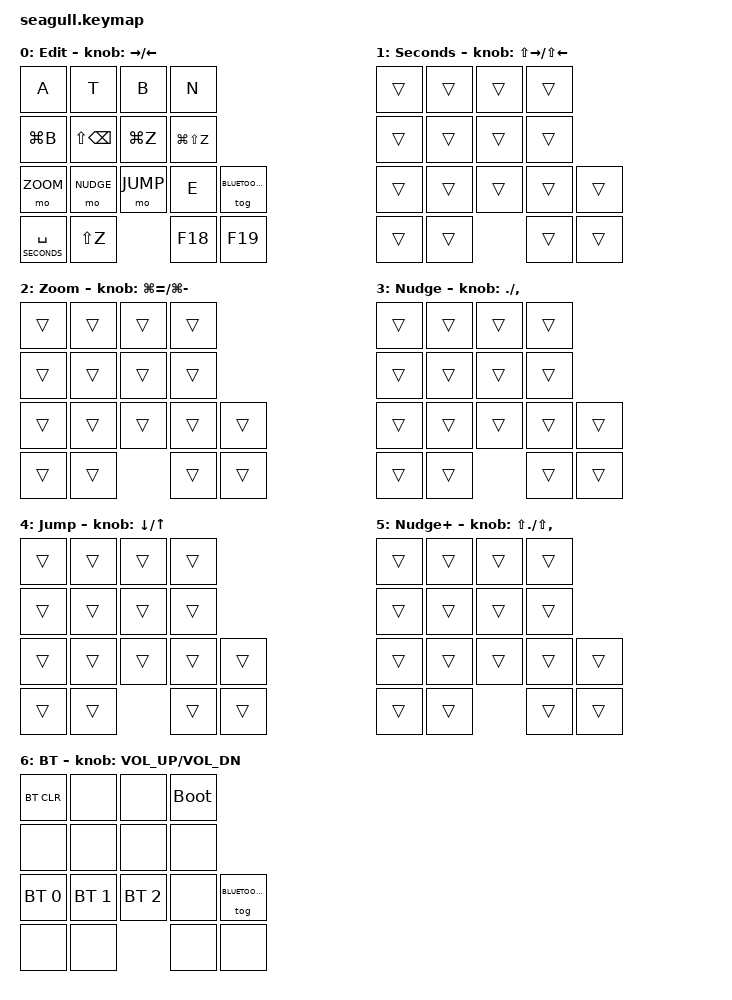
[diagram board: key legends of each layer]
#include <behaviors.dtsi>
#include <dt-bindings/zmk/keys.h>
#include <dt-bindings/zmk/bt.h>

// DaVinci Resolve (macOS default shortcuts). The encoder moves the playhead;
// holding a mode key changes what the encoder does.
#define EDIT 0
#define SECONDS 1
#define ZOOM 2
#define NUDGE 3
#define JUMP 4
#define NUDGE_FAST 5
#define BLUETOOTH 6

/ {
    behaviors {
        // Layer-tap whose layer is active from the moment the key goes down,
        // so turning the encoder straight away already uses the held layer.
        lt_now: layer_tap_now {
            compatible = "zmk,behavior-hold-tap";
            #binding-cells = <2>;
            flavor = "hold-preferred";
            tapping-term-ms = <200>;
            hold-while-undecided;
            bindings = <&mo>, <&kp>;
        };
    };

    conditional_layers {
        compatible = "zmk,conditional-layers";

        nudge_fast {
            if-layers = <NUDGE SECONDS>;
            then-layer = <NUDGE_FAST>;
        };
    };

    keymap {
        compatible = "zmk,keymap";

        layer_edit {
            display-name = "Edit";
            bindings = <
                &kp A          &kp T          &kp B      &kp N
                &kp LG(B)      &kp LS(BSPC)   &kp LG(Z)  &kp LG(LS(Z))
                &mo ZOOM       &mo NUDGE      &mo JUMP   &kp E          &tog BLUETOOTH
                &lt_now SECONDS SPACE  &kp LS(Z)      &kp F18    &kp F19
            >;
            sensor-bindings = <&inc_dec_kp RIGHT LEFT>;
        };

        layer_seconds {
            display-name = "Seconds";
            bindings = <
                &trans  &trans  &trans  &trans
                &trans  &trans  &trans  &trans
                &trans  &trans  &trans  &trans  &trans
                &trans  &trans  &trans  &trans
            >;
            sensor-bindings = <&inc_dec_kp LS(RIGHT) LS(LEFT)>;
        };

        layer_zoom {
            display-name = "Zoom";
            bindings = <
                &trans  &trans  &trans  &trans
                &trans  &trans  &trans  &trans
                &trans  &trans  &trans  &trans  &trans
                &trans  &trans  &trans  &trans
            >;
            sensor-bindings = <&inc_dec_kp LG(EQUAL) LG(MINUS)>;
        };

        layer_nudge {
            display-name = "Nudge";
            bindings = <
                &trans  &trans  &trans  &trans
                &trans  &trans  &trans  &trans
                &trans  &trans  &trans  &trans  &trans
                &trans  &trans  &trans  &trans
            >;
            sensor-bindings = <&inc_dec_kp DOT COMMA>;
        };

        layer_jump {
            display-name = "Jump";
            bindings = <
                &trans  &trans  &trans  &trans
                &trans  &trans  &trans  &trans
                &trans  &trans  &trans  &trans  &trans
                &trans  &trans  &trans  &trans
            >;
            sensor-bindings = <&inc_dec_kp DOWN UP>;
        };

        layer_nudge_fast {
            display-name = "Nudge+";
            bindings = <
                &trans  &trans  &trans  &trans
                &trans  &trans  &trans  &trans
                &trans  &trans  &trans  &trans  &trans
                &trans  &trans  &trans  &trans
            >;
            sensor-bindings = <&inc_dec_kp LS(DOT) LS(COMMA)>;
        };

        layer_bluetooth {
            display-name = "BT";
            bindings = <
                &bt BT_CLR    &none         &none         &bootloader
                &none         &none         &none         &none
                &bt BT_SEL 0  &bt BT_SEL 1  &bt BT_SEL 2  &none        &tog BLUETOOTH
                &none         &none         &none         &none
            >;
            sensor-bindings = <&inc_dec_kp C_VOL_UP C_VOL_DN>;
        };
    };
};
